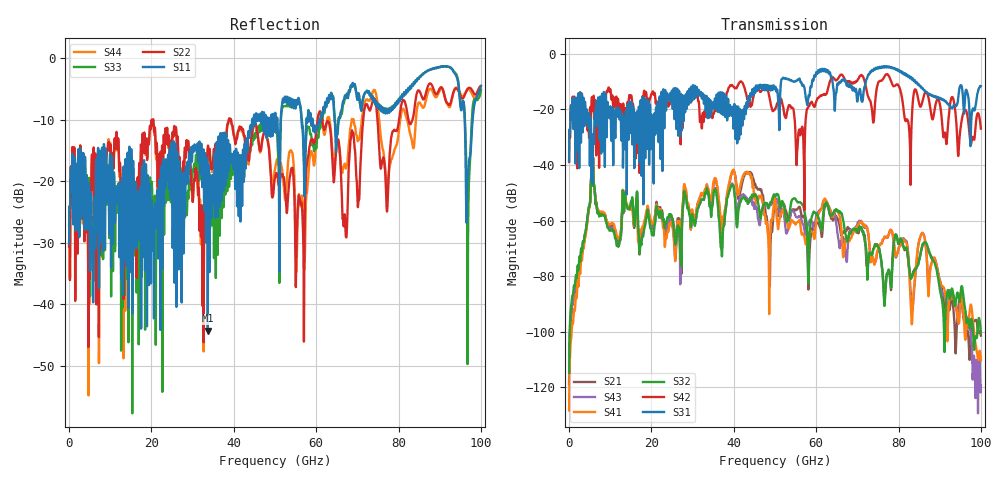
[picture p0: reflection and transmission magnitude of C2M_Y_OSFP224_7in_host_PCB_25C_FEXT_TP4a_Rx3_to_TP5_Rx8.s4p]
# GHz S RI R 45
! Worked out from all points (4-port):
!   4000 points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, 25 MHz to 100 GHz, reference 45 ohm
!   strongest paths, dB at 25 MHz, 25.02 GHz, 50.02 GHz, 75.03 GHz, 100 GHz:
!     S31: -38.6, -13.7, -12.1, -4.9, -11.6
!     S42: -39.0, -13.8, -19.8, -10.6, -26.9
!     S32: -114.8, -59.3, -51.2, -69.6, -100.3
!     S41: -128.3, -61.5, -52.2, -70.4, -110.3
!     S43: -118.7, -61.9, -53.1, -70.5, -119.1
!     S21: -118.9, -59.1, -52.0, -69.5, -101.4
!   lowest |S11| = -44.3 dB at 33.7 GHz (marker M1), VSWR 1.01, Z = 45.3 - j0.454 ohm
!   |S11| at or under -10 dB: start of sweep to 44.49 GHz; 59.15 GHz to 60.73 GHz (1.575 GHz wide, 2.63 % of centre); 96.08 GHz to 98 GHz (1.927 GHz wide, 1.99 % of centre)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
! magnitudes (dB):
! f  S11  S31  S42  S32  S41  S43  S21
! 25 MHz  -30.2  -38.6  -39.0  -114.8  -128.3  -118.7  -118.9
! 5.75 GHz  -34.1  -46.8  -20.6  -40.8  -40.7  -40.8  -40.7
! 11.88 GHz  -23.6  -20.1  -16.2  -69.1  -66.2  -68.6  -67.4
! 33.7 GHz  -44.3  -21.4  -17.5  -50.3  -48.8  -50.0  -49.5
! 55.48 GHz  -7.5  -9.4  -33.9  -53.4  -60.6  -59.0  -55.8
! 67.08 GHz  -6.1  -9.7  -9.6  -64.5  -67.8  -70.4  -63.9
! 100 GHz  -4.6  -11.6  -26.9  -100.3  -110.3  -119.1  -101.4
